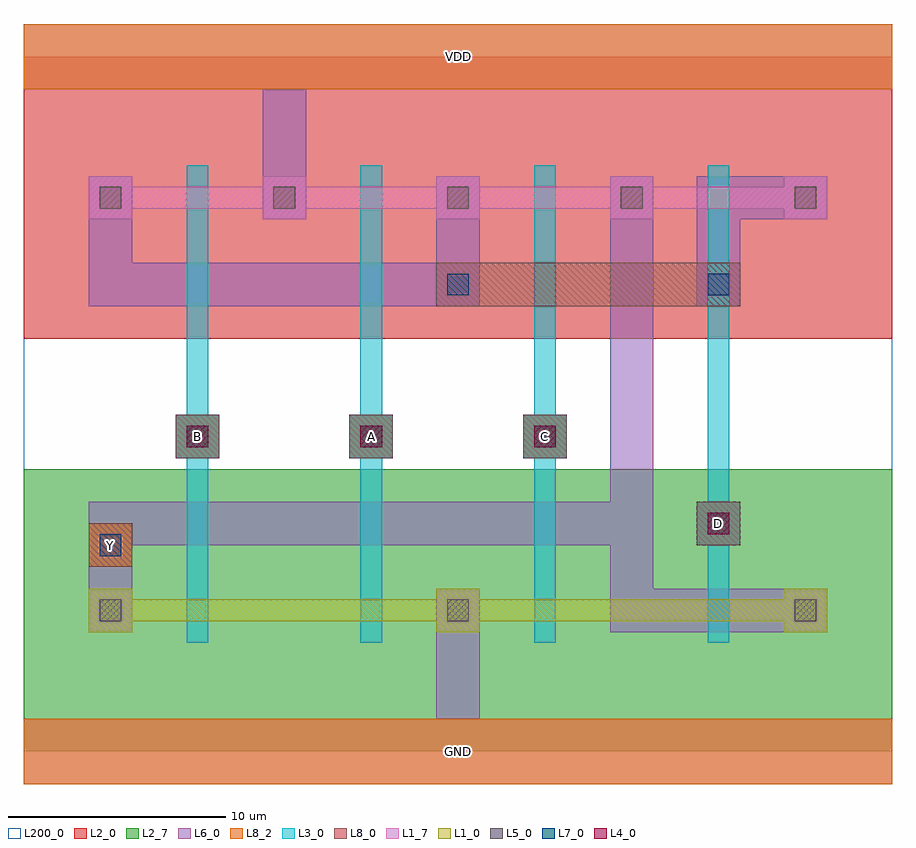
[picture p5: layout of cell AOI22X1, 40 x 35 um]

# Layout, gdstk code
import gdstk
lib = gdstk.Library(unit=1e-6, precision=1e-09)
def R(c, l, rs):  # rectangles x0, y0, x1, y1
    for r in rs: c.add(gdstk.rectangle(r[:2], r[2:], *l))
def A(c, l, x, y, w, h, nx, ny, dx, dy):  # array of equal rectangles
    R(c, l, [(x+i*dx, y+j*dy, x+i*dx+w, y+j*dy+h) for i in range(nx) for j in range(ny)])
def P(c, l, *ps):  # polygons
    for p in ps: c.add(gdstk.Polygon(p, *l))
L1_0 = (1, 0)
L1_7 = (1, 7)
L2_0 = (2, 0)
L2_7 = (2, 7)
L3_0 = (3, 0)
L4_0 = (4, 0)
L5_0 = (5, 0)
L6_0 = (6, 0)
L7_0 = (7, 0)
L8_0 = (8, 0)
L8_2 = (8, 2)
L200_0 = (200, 0)

aoi22x1 = lib.new_cell('AOI22X1')
P(aoi22x1, L1_0, [(3,5.5),(3,7.5),(5,7.5),(5,7),(19,7),(19,7.5),(21,7.5),(21,7),(35,7),(35,7.5),(37,7.5),(37,5.5),(35,5.5),(35,6),(21,6),(21,5.5),(19,5.5),(19,6),(5,6),(5,5.5)])
P(aoi22x1, L1_7, [(3,24.5),(3,26.5),(5,26.5),(5,26),(11,26),(11,26.5),(13,26.5),(13,26),(19,26),(19,26.5),(21,26.5),(21,26),(27,26),(27,26.5),(29,26.5),(29,26),(35,26),(35,26.5),(37,26.5),(37,24.5),(35,24.5),(35,25),(29,25),(29,24.5),(27,24.5),(27,25),(21,25),(21,24.5),(19,24.5),(19,25),(13,25),(13,24.5),(11,24.5),(11,25),(5,25),(5,24.5)])
R(aoi22x1, L2_0, [(0,19,40,32)])
R(aoi22x1, L2_7, [(0,0,40,13)])
P(aoi22x1, L3_0, [(7.5,5),(7.5,13.5),(7,13.5),(7,15.5),(7.5,15.5),(7.5,27),(8.5,27),(8.5,15.5),(9,15.5),(9,13.5),(8.5,13.5),(8.5,5)],
  [(15.5,5),(15.5,13.5),(15,13.5),(15,15.5),(15.5,15.5),(15.5,27),(16.5,27),(16.5,15.5),(17,15.5),(17,13.5),(16.5,13.5),(16.5,5)],
  [(23.5,5),(23.5,13.5),(23,13.5),(23,15.5),(23.5,15.5),(23.5,27),(24.5,27),(24.5,15.5),(25,15.5),(25,13.5),(24.5,13.5),(24.5,5)],
  [(31.5,5),(31.5,9.5),(31,9.5),(31,11.5),(31.5,11.5),(31.5,27),(32.5,27),(32.5,11.5),(33,11.5),(33,9.5),(32.5,9.5),(32.5,5)])
A(aoi22x1, L4_0, 7.5, 14, 1, 1, 3, 1, 8, 0)
R(aoi22x1, L4_0, [(31.5,10,32.5,11)])
A(aoi22x1, L5_0, 3.5, 6, 1, 1, 3, 1, 16, 0)
A(aoi22x1, L5_0, 3.5, 25, 1, 1, 5, 1, 8, 0)
A(aoi22x1, L6_0, 7, 13.5, 2, 2, 3, 1, 8, 0)
R(aoi22x1, L6_0, [(31,9.5,33,11.5)])
P(aoi22x1, L6_0, [(0,-1.5),(0,1.5),(19,1.5),(19,7.5),(21,7.5),(21,1.5),(40,1.5),(40,-1.5)],
  [(3,20.5),(3,26.5),(5,26.5),(5,22.5),(19,22.5),(19,26.5),(21,26.5),(21,20.5)],
  [(3,5.5),(3,11.5),(27,11.5),(27,26.5),(29,26.5),(29,7.5),(37,7.5),(37,5.5),(27,5.5),(27,9.5),(5,9.5),(5,5.5)],
  [(31,20.5),(31,26.5),(37,26.5),(37,24.5),(33,24.5),(33,20.5)],
  [(11,24.5),(11,30.5),(0,30.5),(0,33.5),(40,33.5),(40,30.5),(13,30.5),(13,24.5)])
A(aoi22x1, L7_0, 7.5, 14, 1, 1, 3, 1, 8, 0)
R(aoi22x1, L7_0, [(3.5,9,4.5,10), (31.5,10,32.5,11), (19.5,21,20.5,22), (31.5,21,32.5,22)])
A(aoi22x1, L8_0, 7, 13.5, 2, 2, 3, 1, 8, 0)
R(aoi22x1, L8_0, [(3,8.5,5,10.5), (31,9.5,33,11.5), (19,20.5,33,22.5)])
A(aoi22x1, L8_2, 7, 13.5, 2, 2, 3, 1, 8, 0)
R(aoi22x1, L8_2, [(3,8.5,5,10.5), (31,9.5,33,11.5)])
R(aoi22x1, L200_0, [(0,0,40,32)])
aoi22x1.add(gdstk.FlexPath([(0,32),(40,32)], 3, ends="flush", simple_path=True, layer=8, datatype=2))  # L8_2
aoi22x1.add(gdstk.FlexPath([(0,0),(40,0)], 3, ends="flush", simple_path=True, layer=8, datatype=2))  # L8_2
aoi22x1.add(gdstk.Label('GND', (20,0), layer=6, texttype=1))
aoi22x1.add(gdstk.Label('VDD', (20,32), layer=6, texttype=1))
aoi22x1.add(gdstk.Label('B', (8,14.5), layer=8, texttype=1))
aoi22x1.add(gdstk.Label('A', (16,14.5), layer=8, texttype=1))
aoi22x1.add(gdstk.Label('C', (24,14.5), layer=8, texttype=1))
aoi22x1.add(gdstk.Label('D', (32,10.5), layer=8, texttype=1))
aoi22x1.add(gdstk.Label('Y', (4,9.5), layer=8, texttype=1))

lib.write_gds('AOI22X1.gds')
